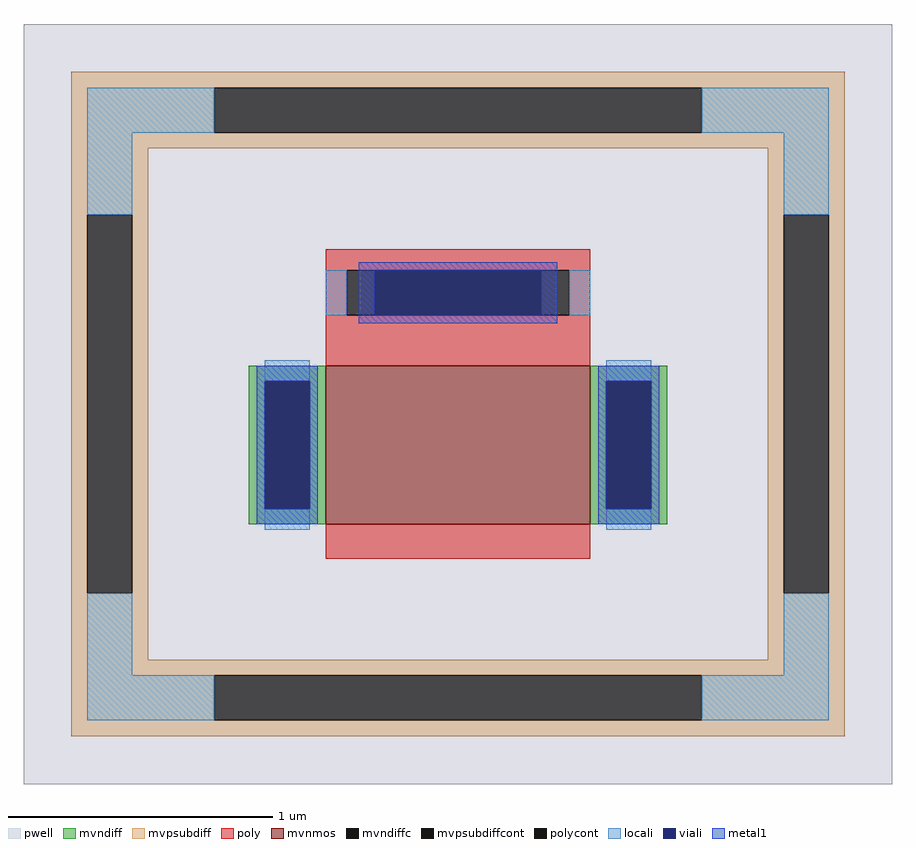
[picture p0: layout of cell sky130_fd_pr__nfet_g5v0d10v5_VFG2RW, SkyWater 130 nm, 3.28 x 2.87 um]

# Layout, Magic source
magic
tech sky130A
magscale 1 2
<< pwell >>
rect -328 -287 328 287
<< mvnmos >>
rect -100 -91 100 29
<< mvndiff >>
rect -158 17 -100 29
rect -158 -79 -146 17
rect -112 -79 -100 17
rect -158 -91 -100 -79
rect 100 17 158 29
rect 100 -79 112 17
rect 146 -79 158 17
rect 100 -91 158 -79
<< mvndiffc >>
rect -146 -79 -112 17
rect 112 -79 146 17
<< mvpsubdiff >>
rect -292 239 292 251
rect -292 205 -184 239
rect 184 205 292 239
rect -292 193 292 205
rect -292 143 -234 193
rect -292 -143 -280 143
rect -246 -143 -234 143
rect 234 143 292 193
rect -292 -193 -234 -143
rect 234 -143 246 143
rect 280 -143 292 143
rect 234 -193 292 -143
rect -292 -205 292 -193
rect -292 -239 -184 -205
rect 184 -239 292 -205
rect -292 -251 292 -239
<< mvpsubdiffcont >>
rect -184 205 184 239
rect -280 -143 -246 143
rect 246 -143 280 143
rect -184 -239 184 -205
<< poly >>
rect -100 101 100 117
rect -100 67 -84 101
rect 84 67 100 101
rect -100 29 100 67
rect -100 -117 100 -91
<< polycont >>
rect -84 67 84 101
<< locali >>
rect -280 205 -184 239
rect 184 205 280 239
rect -280 143 -246 205
rect 246 143 280 205
rect -100 67 -84 101
rect 84 67 100 101
rect -146 17 -112 33
rect -146 -95 -112 -79
rect 112 17 146 33
rect 112 -95 146 -79
rect -280 -205 -246 -143
rect 246 -205 280 -143
rect -280 -239 -184 -205
rect 184 -239 280 -205
<< viali >>
rect -63 67 63 101
rect -146 -79 -112 17
rect 112 -79 146 17
<< metal1 >>
rect -75 101 75 107
rect -75 67 -63 101
rect 63 67 75 101
rect -75 61 75 67
rect -152 17 -106 29
rect -152 -79 -146 17
rect -112 -79 -106 17
rect -152 -91 -106 -79
rect 106 17 152 29
rect 106 -79 112 17
rect 146 -79 152 17
rect 106 -91 152 -79
<< properties >>
string FIXED_BBOX -263 -222 263 222
string gencell sky130_fd_pr__nfet_g5v0d10v5
string library sky130
string parameters w 0.6 l 1 m 1 nf 1 diffcov 100 polycov 100 guard 1 glc 1 grc 1 gtc 1 gbc 1 tbcov 100 rlcov 100 topc 1 botc 0 poverlap 0 doverlap 1 lmin 0.50 wmin 0.42 compatible {sky130_fd_pr__nfet_01v8 sky130_fd_pr__nfet_01v8_lvt  sky130_fd_bs_flash__special_sonosfet_star  sky130_fd_pr__nfet_g5v0d10v5 sky130_fd_pr__nfet_05v0_nvt  sky130_fd_pr__nfet_03v3_nvt} full_metal 1 viasrc 100 viadrn 100 viagate 75 viagb 0 viagr 0 viagl 0 viagt 0
<< end >>
